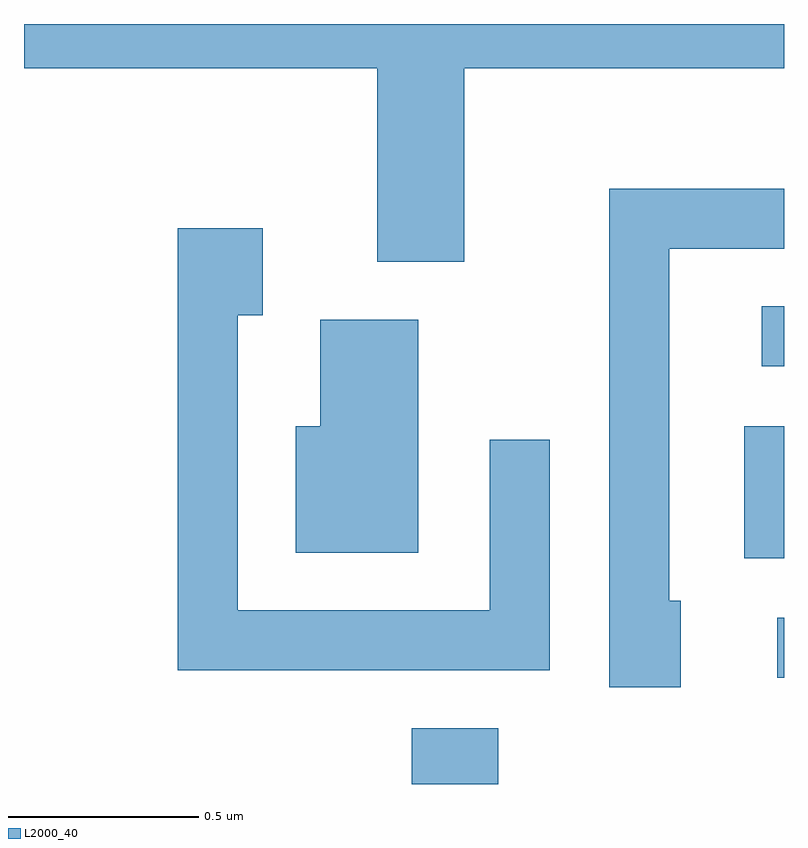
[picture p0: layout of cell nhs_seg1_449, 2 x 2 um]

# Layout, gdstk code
import gdstk
lib = gdstk.Library(unit=1e-6, precision=1e-09)
def R(c, l, rs):  # rectangles x0, y0, x1, y1
    for r in rs: c.add(gdstk.rectangle(r[:2], r[2:], *l))
def P(c, l, *ps):  # polygons
    for p in ps: c.add(gdstk.Polygon(p, *l))
L2000_40 = (2000, 40)

nhs_seg1_449 = lib.new_cell('nhs_seg1_449')
R(nhs_seg1_449, L2000_40, [(189.631,877.712,189.859,877.859), (190.593,877.991,190.611,878.149), (190.506,878.306,190.611,878.654), (190.553,878.811,190.611,878.969)])
P(nhs_seg1_449, L2000_40, [(189.769,879.596),(190.611,879.596),(190.611,879.712),(188.611,879.712),(188.611,879.596),(189.541,879.596),(189.541,879.086),(189.769,879.086)],
  [(190.339,878.194),(190.309,878.194),(190.309,879.121),(190.611,879.121),(190.611,879.279),(190.151,879.279),(190.151,877.966),(190.339,877.966)],
  [(189.994,878.618),(189.836,878.618),(189.836,878.169),(189.174,878.169),(189.174,878.946),(189.239,878.946),(189.239,879.174),(189.016,879.174),(189.016,878.011),(189.994,878.011)],
  [(189.649,878.934),(189.391,878.934),(189.391,878.654),(189.326,878.654),(189.326,878.321),(189.649,878.321)])

lib.write_gds('nhs_seg1_449.gds')
